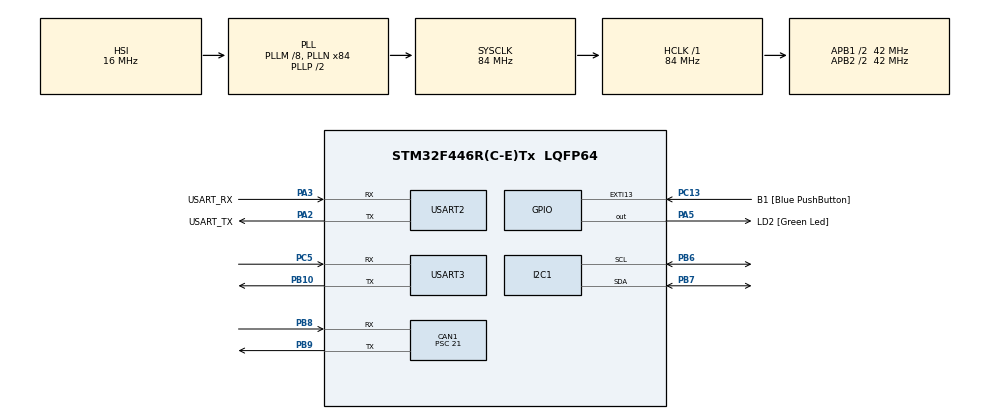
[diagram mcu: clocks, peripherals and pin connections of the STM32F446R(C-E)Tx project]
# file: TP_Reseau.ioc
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CAN1.BS1=CAN_BS1_2TQ
CAN1.CalculateBaudRate=500000
CAN1.CalculateTimeBit=2000
CAN1.CalculateTimeQuantum=500.0
CAN1.Prescaler=21
Dma.Request0=USART3_RX
Dma.USART3_RX.0.Direction=DMA_PERIPH_TO_MEMORY
Dma.USART3_RX.0.FIFOMode=DMA_FIFOMODE_DISABLE
Dma.USART3_RX.0.Instance=DMA1_Stream1
Dma.USART3_RX.0.MemDataAlignment=DMA_MDATAALIGN_BYTE
Dma.USART3_RX.0.MemInc=DMA_MINC_ENABLE
Dma.USART3_RX.0.Mode=DMA_NORMAL
Dma.USART3_RX.0.PeriphDataAlignment=DMA_PDATAALIGN_BYTE
Dma.USART3_RX.0.PeriphInc=DMA_PINC_DISABLE
Dma.USART3_RX.0.Priority=DMA_PRIORITY_LOW
Mcu.Family=STM32F4
Mcu.Name=STM32F446R(C-E)Tx
Mcu.Package=LQFP64
NVIC.DMA1_Stream1_IRQn=true\:0\:0\:false\:false\:true\:false\:true\:true
NVIC.PriorityGroup=NVIC_PRIORITYGROUP_0
NVIC.TIM7_IRQn=true\:0\:0\:false\:false\:true\:true\:true\:true
NVIC.USART3_IRQn=true\:0\:0\:false\:false\:true\:true\:true\:true
PA13.GPIO_Label=TMS
PA13.Mode=Serial_Wire
PA13.Signal=SYS_JTMS-SWDIO
PA14.GPIO_Label=TCK
PA14.Mode=Serial_Wire
PA14.Signal=SYS_JTCK-SWCLK
PA2.GPIO_Label=USART_TX
PA2.Mode=Asynchronous
PA2.Signal=USART2_TX
PA3.GPIO_Label=USART_RX
PA3.Mode=Asynchronous
PA3.Signal=USART2_RX
PA5.GPIO_Label=LD2 [Green Led]
PA5.Signal=GPIO_Output
PB10.Mode=Asynchronous
PB10.Signal=USART3_TX
PB3.GPIO_Label=SWO
PB3.Signal=SYS_JTDO-SWO
PB6.Mode=I2C
PB6.Signal=I2C1_SCL
PB7.Mode=I2C
PB7.Signal=I2C1_SDA
PB8.Mode=CAN_Activate
PB8.Signal=CAN1_RX
PB9.Mode=CAN_Activate
PB9.Signal=CAN1_TX
PC13.GPIO_Label=B1 [Blue PushButton]
PC13.GPIO_ModeDefaultEXTI=GPIO_MODE_IT_FALLING
PC13.Signal=GPXTI13
PC14-OSC32_IN.Signal=RCC_OSC32_IN
PC15-OSC32_OUT.Signal=RCC_OSC32_OUT
PC5.Mode=Asynchronous
PC5.Signal=USART3_RX
PH0-OSC_IN.Mode=HSE-External-Oscillator
PH0-OSC_IN.Signal=RCC_OSC_IN
PH1-OSC_OUT.Mode=HSE-External-Oscillator
PH1-OSC_OUT.Signal=RCC_OSC_OUT
ProjectManager.HeapSize=0x200
ProjectManager.StackSize=0x400
ProjectManager.TargetToolchain=STM32CubeIDE
RCC.AHBFreq_Value=84000000
RCC.APB1CLKDivider=RCC_HCLK_DIV2
RCC.APB1Freq_Value=42000000
RCC.APB1TimFreq_Value=84000000
RCC.APB2CLKDivider=RCC_HCLK_DIV2
RCC.APB2Freq_Value=42000000
RCC.APB2TimFreq_Value=84000000
RCC.CortexFreq_Value=84000000
RCC.FLatency-AdvancedSettings=FLASH_LATENCY_2
RCC.HCLKFreq_Value=84000000
RCC.HSE_VALUE=8000000
RCC.HSI_VALUE=16000000
RCC.LSE_VALUE=32768
RCC.PLLM=8
RCC.PLLN=84
RCC.SYSCLKFreq_VALUE=84000000
RCC.SYSCLKSource=RCC_SYSCLKSOURCE_PLLCLK
RCC.USBFreq_Value=84000000
RCC.VCOOutputFreq_Value=168000000
TIM7.Period=39999
TIM7.Prescaler=9999
USART2.VirtualMode=VM_ASYNC
USART3.VirtualMode=VM_ASYNC
VP_TIM7_VS_ClockSourceINT.Mode=Enable_Timer
board=NUCLEO-F446RE

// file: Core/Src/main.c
/* USER CODE BEGIN Header */
/**
  ******************************************************************************
  * @file           : main.c
  * @brief          : Main program body
  ******************************************************************************
  * @attention
  *
  * Copyright (c) 2022 STMicroelectronics.
  * All rights reserved.
  *
  * This software is licensed under terms that can be found in the LICENSE file
  * in the root directory of this software component.
  * If no LICENSE file comes with this software, it is provided AS-IS.
  *
  ******************************************************************************
  */
/* USER CODE END Header */
#include "main.h"

/* USER CODE BEGIN Includes */
#include <stdio.h>
#include <string.h>
#include "BMP280_simple.h"

/* USER CODE END Includes */

/* USER CODE BEGIN PD */
#define ADD_BMP 0x77 << 1
#define BMP_MODE_NORMAL 0b11
#define BMP_SAMPLING_SKIPPED 0b000
#define BMP_SAMPLING_1 0b001
#define BMP_SAMPLING_2 0b010
#define BMP_SAMPLING_4 0b010
#define BMP_SAMPLING_8 0b011
#define BMP_SAMPLING_16 0b111

#define BMP_CONFIG_T 5
#define BMP_CONFIG_P 2

#define UART_RX_BUFFER_SIZE 10
#define CMD_BUFFER_SIZE 64
#define MAX_ARGS 9
#define SIZE_REQUETE 10

//Manual Mode
#define Arbitration_ID_M 0x061 ;
#define SpeedMin 0xFF  //255ms / 4 Hz
#define SpeedMax 0x01 // 1 ms / 1 kHz
#define Angle 0x54  //0x01 to 0xFF (1 unit = 1°)
#define Positive 0x01   // Negative
#define Negative 0x00  //Positive

/* USER CODE END PD */

CAN_HandleTypeDef hcan1;

I2C_HandleTypeDef hi2c1;

TIM_HandleTypeDef htim7;

UART_HandleTypeDef huart2;
UART_HandleTypeDef huart3;
DMA_HandleTypeDef hdma_usart3_rx;

/* USER CODE BEGIN PV */
uint8_t UART1_rxBuffer[10];
uint8_t uartRxBuffer[UART_RX_BUFFER_SIZE];
uint32_t uartRxReceived;
uint8_t newline[]="\r\n";
uint8_t Rx_rasp_nucleo = 1;
char requete[SIZE_REQUETE] = {'\0'};
int pression;
int  x=10;
BMP280_U32_t PressureV;
BMP280_S32_t TemperatureV;
int K;
int A;

/* USER CODE END PV */

void SystemClock_Config(void);
static void MX_GPIO_Init(void);
static void MX_DMA_Init(void);
static void MX_USART2_UART_Init(void);
static void MX_USART3_UART_Init(void);
static void MX_CAN1_Init(void);
static void MX_I2C1_Init(void);
static void MX_TIM7_Init(void);

/* USER CODE BEGIN 0 */
CAN_TxHeaderTypeDef TxHeader;
CAN_TxHeaderTypeDef TxPosIni;

uint8_t  TxData[10];
uint32_t TxMailbox;

#define RxBuf_SIZE 12
#define MainBuf_SIZE 20

uint8_t RxBuf[RxBuf_SIZE ];
uint8_t MainBuf[MainBuf_SIZE];

uint16_t oldPos=0;
uint16_t newPos=0;

int isOk = 0;

void command(char bufferTransfert[RxBuf_SIZE], uint8_t Size)
{
	if (strncmp(bufferTransfert,"GET_T",strlen("GET_T"))==0)
	{
		TemperatureV=BMP280_get_temperature();
			printf("T=+%d.%d_C\r\n",(int)(TemperatureV/100),TemperatureV%100);

	}
	else if (strncmp(bufferTransfert,"GET_P",strlen("GET_P"))==0)
	{
		PressureV=BMP280_get_pressure();
		printf("P=%dPa\r\n",PressureV);
	}
	else if (strncmp(bufferTransfert,"SET_K",strlen("SET_K"))==0)
	{
		if (strncmp(bufferTransfert+strlen("SET_K"),"=",strlen("="))==0)
		{
			K=atoi(bufferTransfert+strlen("SET_K")+strlen("=")); //
		}
		else
			{
				printf("Command not found\r\n"
						"Please try this syntax\r\n"
						"SET_K=xxxx: to set the K coefficient on xxxx value (in 1/100e)\r\n");
			}
	}
	else if (strncmp(bufferTransfert,"GET_K",strlen("GET_K"))==0)
	{
		printf("K=%d.%d000\r\n",(int)(K/100),K%100);
	}
	else if (strncmp(bufferTransfert,"GET_A",strlen("GET_A"))==0)
	{
		printf("A=%d.%d000\r\n",(int)(A/1000),A%1000);
	}
	else
	{
		printf("Command not found\r\n");
	}
	memset(bufferTransfert,NULL,Size*sizeof(char));
}

void HAL_UARTEx_RxEventCallback(UART_HandleTypeDef *huart, uint16_t Size)
{
	if (huart->Instance == USART3)
	{
		RxBuf[Size]='\r';
		RxBuf[Size+1]='\n';
		command(RxBuf,Size+2);
		HAL_UARTEx_ReceiveToIdle_DMA(&huart3, RxBuf, RxBuf_SIZE);
		__HAL_DMA_DISABLE_IT(&hdma_usart3_rx, DMA_IT_HT);
	}
}

/* USER CODE END 0 */

int main(void)
{

  /* MCU Configuration--------------------------------------------------------*/

  /* Reset of all peripherals, Initializes the Flash interface and the Systick. */
  HAL_Init();

  /* Configure the system clock */
  SystemClock_Config();

  /* Initialize all configured peripherals */
  MX_GPIO_Init();
  MX_DMA_Init();
  MX_USART2_UART_Init();
  MX_USART3_UART_Init();
  MX_CAN1_Init();
  MX_I2C1_Init();
  MX_TIM7_Init();
  /* USER CODE BEGIN 2 */
   uint8_t Register[1] = {0xD0};
   uint8_t Receive[1];
   HAL_UARTEx_ReceiveToIdle_DMA(&huart3,RxBuf,RxBuf_SIZE);
   __HAL_DMA_DISABLE_IT(&hdma_usart3_rx,DMA_IT_HT);

   HAL_CAN_Start(&hcan1);
   HAL_Delay(1000);

   TxHeader.IDE = CAN_ID_STD;
   TxHeader.RTR = CAN_RTR_DATA;
   TxHeader.StdId = 0x61 ;
   TxHeader.DLC = 2;
   TxHeader.TransmitGlobalTime = DISABLE;

   TxPosIni.IDE=CAN_ID_STD;
   TxPosIni.IDE = CAN_ID_STD;
   TxPosIni.RTR = CAN_RTR_DATA;
   TxPosIni.StdId = 0x62 ;
   TxPosIni.DLC = 0;
   TxPosIni.TransmitGlobalTime = DISABLE;

   TxData[0]= 90;
   TxData[1]= 0;

   HAL_CAN_AddTxMessage(&hcan1,&TxPosIni,TxData, &TxMailBox);
   HAL_CAN_AddTxMessage(&hcan1,&TxHeader,TxData, &TxMailBox);
   HAL_CAN_AddTxMessage(&hcan1,&TxPosIni,TxData, &TxMailBox);
   HAL_CAN_AddTxMessage(&hcan1,&TxHeader,TxData, &TxMailBox);

   /*BMP280 */

   HAL_I2C_Master_Transmit(&hi2c1,ADD_BMP, Register ,1, HAL_MAX_DELAY);
   HAL_I2C_Master_Receive(&hi2c1,ADD_BMP, Receive,1,HAL_MAX_DELAY);

   printf("valeur : %x \r \n",Receive[0]);

   /*----------------------------------------------------------------------------------------------------------*/
     /*configuration du capteur mode normal, Pressure oversampling x16, Temperature oversampling x2 */

   uint8_t config[2]={0xF4,(0b010 << 5) | (0b101 << 2) | (0b11) };
   uint8_t data[1];

   HAL_I2C_Master_Transmit(&hi2c1,ADD_BMP, config ,2, HAL_MAX_DELAY);

   //Teste si c est bien la valeur qu on a envoyé
   HAL_I2C_Master_Transmit(&hi2c1,ADD_BMP, config ,1, HAL_MAX_DELAY);
   HAL_I2C_Master_Transmit(&hi2c1,ADD_BMP, data ,1, HAL_MAX_DELAY);

   printf("config : %x \r \n",data[0]);

   /*-------------------------------*/

   pression=BMP280_get_pressure();

   //printf("Pressssss : %d \r \n",pression);

   BMP280_get_temperature();

   //printf("temp : %d \r \n",temp);

   //pressionComprense=bmp280_compensate_P_int32((int32_t)pression);

  /* USER CODE END 2 */

  /* Infinite loop */
  while (1)
  {

  }
}

void SystemClock_Config(void)
{
  RCC_OscInitTypeDef RCC_OscInitStruct = {0};
  RCC_ClkInitTypeDef RCC_ClkInitStruct = {0};

  /** Configure the main internal regulator output voltage
  */
  __HAL_RCC_PWR_CLK_ENABLE();
  __HAL_PWR_VOLTAGESCALING_CONFIG(PWR_REGULATOR_VOLTAGE_SCALE3);

  /** Initializes the RCC Oscillators according to the specified parameters
  * in the RCC_OscInitTypeDef structure.
  */
  RCC_OscInitStruct.OscillatorType = RCC_OSCILLATORTYPE_HSI;
  RCC_OscInitStruct.HSIState = RCC_HSI_ON;
  RCC_OscInitStruct.HSICalibrationValue = RCC_HSICALIBRATION_DEFAULT;
  RCC_OscInitStruct.PLL.PLLState = RCC_PLL_ON;
  RCC_OscInitStruct.PLL.PLLSource = RCC_PLLSOURCE_HSI;
  RCC_OscInitStruct.PLL.PLLM = 8;
  RCC_OscInitStruct.PLL.PLLN = 84;
  RCC_OscInitStruct.PLL.PLLP = RCC_PLLP_DIV2;
  RCC_OscInitStruct.PLL.PLLQ = 2;
  RCC_OscInitStruct.PLL.PLLR = 2;
  if (HAL_RCC_OscConfig(&RCC_OscInitStruct) != HAL_OK)
  {
    Error_Handler();
  }

  /** Initializes the CPU, AHB and APB buses clocks
  */
  RCC_ClkInitStruct.ClockType = RCC_CLOCKTYPE_HCLK|RCC_CLOCKTYPE_SYSCLK
                              |RCC_CLOCKTYPE_PCLK1|RCC_CLOCKTYPE_PCLK2;
  RCC_ClkInitStruct.SYSCLKSource = RCC_SYSCLKSOURCE_PLLCLK;
  RCC_ClkInitStruct.AHBCLKDivider = RCC_SYSCLK_DIV1;
  RCC_ClkInitStruct.APB1CLKDivider = RCC_HCLK_DIV2;
  RCC_ClkInitStruct.APB2CLKDivider = RCC_HCLK_DIV2;

  if (HAL_RCC_ClockConfig(&RCC_ClkInitStruct, FLASH_LATENCY_2) != HAL_OK)
  {
    Error_Handler();
  }
}

static void MX_CAN1_Init(void)
{

  hcan1.Instance = CAN1;
  hcan1.Init.Prescaler = 21;
  hcan1.Init.Mode = CAN_MODE_NORMAL;
  hcan1.Init.SyncJumpWidth = CAN_SJW_1TQ;
  hcan1.Init.TimeSeg1 = CAN_BS1_2TQ;
  hcan1.Init.TimeSeg2 = CAN_BS2_1TQ;
  hcan1.Init.TimeTriggeredMode = DISABLE;
  hcan1.Init.AutoBusOff = DISABLE;
  hcan1.Init.AutoWakeUp = DISABLE;
  hcan1.Init.AutoRetransmission = DISABLE;
  hcan1.Init.ReceiveFifoLocked = DISABLE;
  hcan1.Init.TransmitFifoPriority = DISABLE;
  if (HAL_CAN_Init(&hcan1) != HAL_OK)
  {
    Error_Handler();
  }

}

static void MX_I2C1_Init(void)
{

  hi2c1.Instance = I2C1;
  hi2c1.Init.ClockSpeed = 100000;
  hi2c1.Init.DutyCycle = I2C_DUTYCYCLE_2;
  hi2c1.Init.OwnAddress1 = 0;
  hi2c1.Init.AddressingMode = I2C_ADDRESSINGMODE_7BIT;
  hi2c1.Init.DualAddressMode = I2C_DUALADDRESS_DISABLE;
  hi2c1.Init.OwnAddress2 = 0;
  hi2c1.Init.GeneralCallMode = I2C_GENERALCALL_DISABLE;
  hi2c1.Init.NoStretchMode = I2C_NOSTRETCH_DISABLE;
  if (HAL_I2C_Init(&hi2c1) != HAL_OK)
  {
    Error_Handler();
  }

}

static void MX_TIM7_Init(void)
{

  TIM_MasterConfigTypeDef sMasterConfig = {0};

  htim7.Instance = TIM7;
  htim7.Init.Prescaler = 9999;
  htim7.Init.CounterMode = TIM_COUNTERMODE_UP;
  htim7.Init.Period = 39999;
  htim7.Init.AutoReloadPreload = TIM_AUTORELOAD_PRELOAD_DISABLE;
  if (HAL_TIM_Base_Init(&htim7) != HAL_OK)
  {
    Error_Handler();
  }
  sMasterConfig.MasterOutputTrigger = TIM_TRGO_RESET;
  sMasterConfig.MasterSlaveMode = TIM_MASTERSLAVEMODE_DISABLE;
  if (HAL_TIMEx_MasterConfigSynchronization(&htim7, &sMasterConfig) != HAL_OK)
  {
    Error_Handler();
  }

}

static void MX_USART2_UART_Init(void)
{

  huart2.Instance = USART2;
  huart2.Init.BaudRate = 115200;
  huart2.Init.WordLength = UART_WORDLENGTH_8B;
  huart2.Init.StopBits = UART_STOPBITS_1;
  huart2.Init.Parity = UART_PARITY_NONE;
  huart2.Init.Mode = UART_MODE_TX_RX;
  huart2.Init.HwFlowCtl = UART_HWCONTROL_NONE;
  huart2.Init.OverSampling = UART_OVERSAMPLING_16;
  if (HAL_UART_Init(&huart2) != HAL_OK)
  {
    Error_Handler();
  }

}

static void MX_USART3_UART_Init(void)
{

  huart3.Instance = USART3;
  huart3.Init.BaudRate = 115200;
  huart3.Init.WordLength = UART_WORDLENGTH_8B;
  huart3.Init.StopBits = UART_STOPBITS_1;
  huart3.Init.Parity = UART_PARITY_NONE;
  huart3.Init.Mode = UART_MODE_TX_RX;
  huart3.Init.HwFlowCtl = UART_HWCONTROL_NONE;
  huart3.Init.OverSampling = UART_OVERSAMPLING_16;
  if (HAL_UART_Init(&huart3) != HAL_OK)
  {
    Error_Handler();
  }

}

static void MX_DMA_Init(void)
{

  /* DMA controller clock enable */
  __HAL_RCC_DMA1_CLK_ENABLE();

  /* DMA interrupt init */
  /* DMA1_Stream1_IRQn interrupt configuration */
  HAL_NVIC_SetPriority(DMA1_Stream1_IRQn, 0, 0);
  HAL_NVIC_EnableIRQ(DMA1_Stream1_IRQn);

}

static void MX_GPIO_Init(void)
{
  GPIO_InitTypeDef GPIO_InitStruct = {0};

  /* GPIO Ports Clock Enable */
  __HAL_RCC_GPIOC_CLK_ENABLE();
  __HAL_RCC_GPIOH_CLK_ENABLE();
  __HAL_RCC_GPIOA_CLK_ENABLE();
  __HAL_RCC_GPIOB_CLK_ENABLE();

  /*Configure GPIO pin Output Level */
  HAL_GPIO_WritePin(LD2_GPIO_Port, LD2_Pin, GPIO_PIN_RESET);

  /*Configure GPIO pin : B1_Pin */
  GPIO_InitStruct.Pin = B1_Pin;
  GPIO_InitStruct.Mode = GPIO_MODE_IT_FALLING;
  GPIO_InitStruct.Pull = GPIO_NOPULL;
  HAL_GPIO_Init(B1_GPIO_Port, &GPIO_InitStruct);

  /*Configure GPIO pin : LD2_Pin */
  GPIO_InitStruct.Pin = LD2_Pin;
  GPIO_InitStruct.Mode = GPIO_MODE_OUTPUT_PP;
  GPIO_InitStruct.Pull = GPIO_NOPULL;
  GPIO_InitStruct.Speed = GPIO_SPEED_FREQ_LOW;
  HAL_GPIO_Init(LD2_GPIO_Port, &GPIO_InitStruct);

}

/* USER CODE BEGIN 4 */
void HAL_UART_RxCpltCallback (UART_HandleTypeDef * huart){
	uartRxReceived = 1;
	HAL_UART_Receive_IT(&huart3, uartRxBuffer, UART_RX_BUFFER_SIZE);
}
void HAL_TIM_PeriodElapsedCallback(TIM_HandleTypeDef* htim)
{
}

/* USER CODE END 4 */

void Error_Handler(void)
{
  __disable_irq();
  while (1)
  {
  }
}
